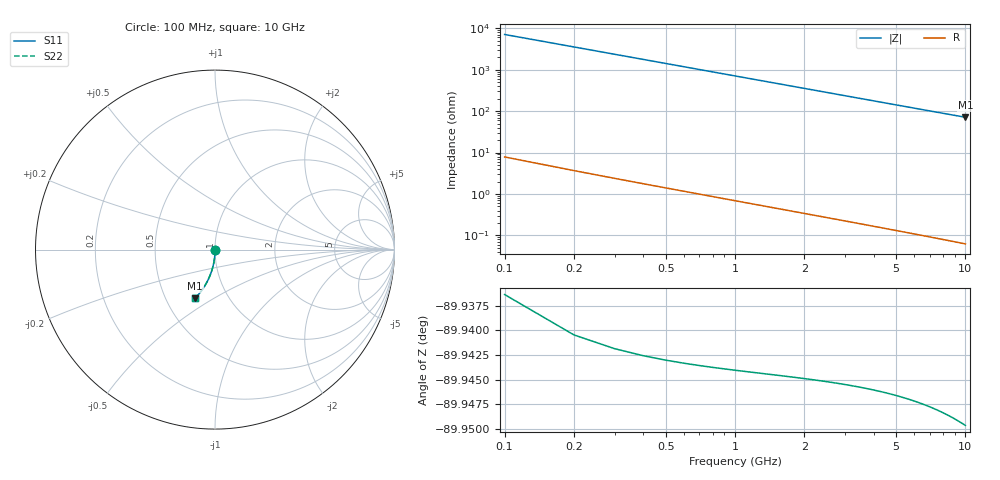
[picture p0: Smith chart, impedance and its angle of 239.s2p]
# Hz S RI R 50.00
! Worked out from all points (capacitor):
!   100 points, 100 MHz to 10 GHz, reference 50 ohm
!   read as one part in shunt: C = 225 fF near 100 MHz
!   lowest |Z| = 71.1 ohm at 10 GHz (marker M1)
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1e8  0.000279 -0.00309  0.9997 -0.00399  0.9997 -0.00399  0.000279 -0.00309
2e8  0.00024 -0.00617  0.9996 -0.00798  0.9996 -0.00798  0.00024 -0.00617
3e8  0.000177 -0.00926  0.9996 -0.012  0.9996 -0.012  0.000177 -0.00926
4e8  8.84e-05 -0.0123  0.9995 -0.016  0.9995 -0.016  8.84e-05 -0.0123
5e8  -2.48e-05 -0.0154  0.9994 -0.02  0.9994 -0.02  -2.48e-05 -0.0154
6e8  -0.000163 -0.0185  0.9992 -0.0239  0.9992 -0.0239  -0.000163 -0.0185
7e8  -0.000325 -0.0216  0.999 -0.0279  0.999 -0.0279  -0.000325 -0.0216
8e8  -0.000513 -0.0247  0.9989 -0.0319  0.9989 -0.0319  -0.000513 -0.0247
9e8  -0.000724 -0.0277  0.9986 -0.0359  0.9986 -0.0359  -0.000724 -0.0277
1.1e9  -0.00122 -0.0339  0.9981 -0.0439  0.9981 -0.0439  -0.00122 -0.0339
1.4e9  -0.00215 -0.0431  0.9972 -0.0558  0.9972 -0.0558  -0.00215 -0.0431
1.8e9  -0.00373 -0.0553  0.9955 -0.0716  0.9955 -0.0716  -0.00373 -0.0553
2.1e9  -0.00517 -0.0644  0.994 -0.0835  0.994 -0.0835  -0.00517 -0.0644
2.5e9  -0.00743 -0.0765  0.9917 -0.0992  0.9917 -0.0992  -0.00743 -0.0765
2.9e9  -0.0101 -0.0885  0.989 -0.1148  0.989 -0.1148  -0.0101 -0.0885
3.4e9  -0.0139 -0.1033  0.985 -0.1342  0.985 -0.1342  -0.0139 -0.1033
4.2e9  -0.0212 -0.1266  0.9775 -0.1648  0.9775 -0.1648  -0.0212 -0.1266
5.1e9  -0.031 -0.1521  0.9672 -0.1985  0.9672 -0.1985  -0.031 -0.1521
5.9e9  -0.0412 -0.1739  0.9567 -0.2276  0.9567 -0.2276  -0.0412 -0.1739
6.7e9  -0.0527 -0.1949  0.9448 -0.2559  0.9448 -0.2559  -0.0527 -0.1949
8.4e9  -0.0808 -0.2364  0.9156 -0.313  0.9156 -0.313  -0.0808 -0.2364
1e10  -0.1111 -0.2711  0.884 -0.3625  0.884 -0.3625  -0.1111 -0.2711
